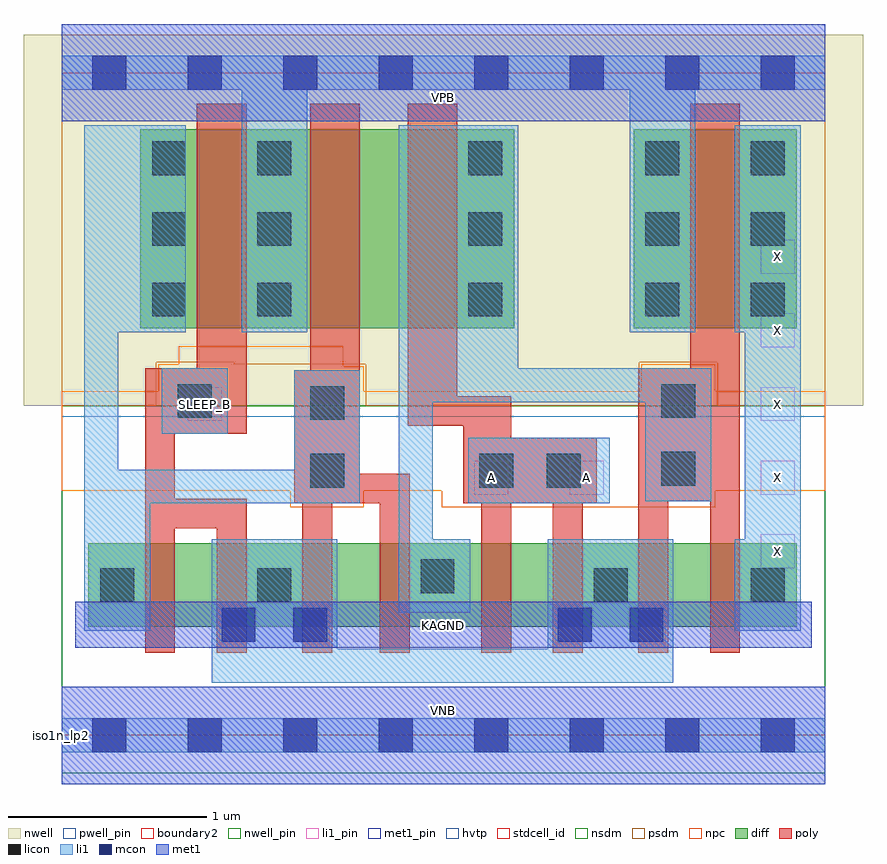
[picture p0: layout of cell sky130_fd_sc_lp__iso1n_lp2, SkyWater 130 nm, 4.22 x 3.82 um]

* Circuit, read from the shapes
.subckt sky130_fd_sc_lp__iso1n_lp2 A KAGND SLEEP_B VGND VNB VPB VPWR X
XM1 n1 SLEEP_B n2 VNB sky130_fd_pr__nfet_01v8 w=0.42 l=0.15
XM2 KAGND SLEEP_B n1 VNB sky130_fd_pr__nfet_01v8 w=0.42 l=0.15
XM3 n3 n2 KAGND VNB sky130_fd_pr__nfet_01v8 w=0.42 l=0.15
XM4 n4 n2 n3 VNB sky130_fd_pr__nfet_01v8 w=0.42 l=0.15
XM5 n5 A n4 VNB sky130_fd_pr__nfet_01v8 w=0.42 l=0.15
XM6 KAGND A n5 VNB sky130_fd_pr__nfet_01v8 w=0.42 l=0.15
XM7 n6 n4 KAGND VNB sky130_fd_pr__nfet_01v8 w=0.42 l=0.15
XM8 X n4 n6 VNB sky130_fd_pr__nfet_01v8 w=0.42 l=0.15
XM9 VPWR SLEEP_B n2 VPB sky130_fd_pr__pfet_01v8_hvt w=1 l=0.25
XM10 n7 n2 VPWR VPB sky130_fd_pr__pfet_01v8_hvt w=1 l=0.25
XM11 n4 A n7 VPB sky130_fd_pr__pfet_01v8_hvt w=1 l=0.25
XM12 X n4 VPWR VPB sky130_fd_pr__pfet_01v8_hvt w=1 l=0.25
.ends

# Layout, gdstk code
import gdstk
lib = gdstk.Library(unit=1e-6, precision=1e-09)
def R(c, l, rs):  # rectangles x0, y0, x1, y1
    for r in rs: c.add(gdstk.rectangle(r[:2], r[2:], *l))
def A(c, l, x, y, w, h, nx, ny, dx, dy):  # array of equal rectangles
    R(c, l, [(x+i*dx, y+j*dy, x+i*dx+w, y+j*dy+h) for i in range(nx) for j in range(ny)])
def P(c, l, *ps):  # polygons
    for p in ps: c.add(gdstk.Polygon(p, *l))
nwell_pin = (64, 16)
nwell = (64, 20)
diff = (65, 20)
poly = (66, 20)
licon = (66, 44)
li1_pin = (67, 16)
li1 = (67, 20)
mcon = (67, 44)
met1_pin = (68, 16)
met1 = (68, 20)
hvtp = (78, 44)
stdcell_id = (81, 4)
nsdm = (93, 44)
psdm = (94, 20)
npc = (95, 20)
pwell_pin = (122, 16)
boundary2 = (236, 0)

sky130_fd_sc_lp__iso1n_l = lib.new_cell('sky130_fd_sc_lp__iso1n_lp2')
R(sky130_fd_sc_lp__iso1n_l, nwell_pin, [(0,3.085,3.84,3.33)])
R(sky130_fd_sc_lp__iso1n_l, nwell, [(-0.19,1.655,4.03,3.52)])
R(sky130_fd_sc_lp__iso1n_l, diff, [(0.135,0.545,3.695,0.965), (0.395,2.045,2.275,3.045), (2.875,2.045,3.695,3.045)])
P(sky130_fd_sc_lp__iso1n_l, poly, [(0.93,1.19),(0.57,1.19),(0.57,1.515),(0.93,1.515),(0.93,3.175),(0.68,3.175),(0.68,1.845),(0.42,1.845),(0.42,0.415),(0.57,0.415),(0.57,1.04),(0.78,1.04),(0.78,0.415),(0.93,0.415)],
  [(1.75,1.315),(1.5,1.315),(1.5,3.175),(1.25,3.175),(1.25,1.835),(1.17,1.835),(1.17,1.165),(1.21,1.165),(1.21,0.415),(1.36,0.415),(1.36,1.165),(1.6,1.165),(1.6,0.415),(1.75,0.415)],
  [(2.69,1.495),(2.26,1.495),(2.26,1.705),(1.99,1.705),(1.99,3.175),(1.74,3.175),(1.74,1.555),(2.02,1.555),(2.02,1.165),(2.11,1.165),(2.11,0.415),(2.26,0.415),(2.26,1.165),(2.47,1.165),(2.47,0.415),(2.62,0.415),(2.62,1.165),(2.69,1.165)],
  [(3.41,3.175),(3.16,3.175),(3.16,1.845),(2.9,1.845),(2.9,0.415),(3.05,0.415),(3.05,1.175),(3.26,1.175),(3.26,0.415),(3.41,0.415)])
A(sky130_fd_sc_lp__iso1n_l, licon, 0.455, 2.105, 0.17, 0.17, 1, 3, 0, 0.355)
A(sky130_fd_sc_lp__iso1n_l, licon, 0.985, 2.105, 0.17, 0.17, 1, 3, 0, 0.355)
A(sky130_fd_sc_lp__iso1n_l, licon, 2.045, 2.105, 0.17, 0.17, 1, 3, 0, 0.355)
A(sky130_fd_sc_lp__iso1n_l, licon, 2.935, 2.105, 0.17, 0.17, 1, 3, 0, 0.355)
A(sky130_fd_sc_lp__iso1n_l, licon, 3.465, 2.105, 0.17, 0.17, 1, 3, 0, 0.355)
R(sky130_fd_sc_lp__iso1n_l, licon, [(0.195,0.67,0.365,0.84), (0.985,0.67,1.155,0.84), (2.675,0.67,2.845,0.84), (3.465,0.67,3.635,0.84), (1.805,0.715,1.975,0.885), (1.25,1.245,1.42,1.415), (2.1,1.245,2.27,1.415), (2.44,1.245,2.61,1.415), (3.015,1.255,3.185,1.425), (1.25,1.585,1.42,1.755), (0.585,1.595,0.755,1.765), (3.015,1.595,3.185,1.765)])
A(sky130_fd_sc_lp__iso1n_l, li1_pin, 3.515, 0.84, 0.17, 0.17, 1, 5, 0, 0.37)
R(sky130_fd_sc_lp__iso1n_l, li1_pin, [(2.075,1.21,2.245,1.38), (2.555,1.21,2.725,1.38), (0.635,1.58,0.805,1.75)])
R(sky130_fd_sc_lp__iso1n_l, li1, [(0,-0.085,3.84,0.085), (2.045,1.165,2.755,1.495), (0.505,1.515,0.835,1.845)])
P(sky130_fd_sc_lp__iso1n_l, li1, [(1.5,1.835),(1.17,1.835),(1.17,1.335),(0.285,1.335),(0.285,2.025),(0.625,2.025),(0.625,3.065),(0.115,3.065),(0.115,0.525),(0.445,0.525),(0.445,1.165),(1.5,1.165)],
  [(3.84,3.415),(0,3.415),(0,3.245),(0.905,3.245),(0.905,2.025),(1.235,2.025),(1.235,3.245),(2.855,3.245),(2.855,2.025),(3.185,2.025),(3.185,3.245),(3.84,3.245)],
  [(3.715,3.065),(3.385,3.065),(3.385,2.025),(3.435,2.025),(3.435,0.985),(3.385,0.985),(3.385,0.525),(3.715,0.525)],
  [(3.075,0.985),(2.445,0.985),(2.445,0.435),(1.385,0.435),(1.385,0.985),(0.755,0.985),(0.755,0.265),(3.075,0.265)],
  [(3.265,1.845),(2.295,1.845),(2.295,3.065),(1.695,3.065),(1.695,0.615),(2.055,0.615),(2.055,0.985),(1.865,0.985),(1.865,1.675),(2.935,1.675),(2.935,1.175),(3.265,1.175)])
A(sky130_fd_sc_lp__iso1n_l, mcon, 0.155, -0.085, 0.17, 0.17, 8, 2, 0.48, 3.33)
R(sky130_fd_sc_lp__iso1n_l, mcon, [(0.805,0.47,0.975,0.64), (1.165,0.47,1.335,0.64), (2.495,0.47,2.665,0.64), (2.855,0.47,3.025,0.64)])
R(sky130_fd_sc_lp__iso1n_l, met1_pin, [(0,0,3.84,0.245), (0.07,0.44,3.77,0.67), (0,3.085,3.84,3.33)])
R(sky130_fd_sc_lp__iso1n_l, met1, [(0,-0.245,3.84,0.245), (0.07,0.44,3.77,0.67), (0,3.085,3.84,3.575)])
R(sky130_fd_sc_lp__iso1n_l, hvtp, [(0,1.6,3.84,3.33)])
R(sky130_fd_sc_lp__iso1n_l, stdcell_id, [(0,0,3.84,3.33)])
R(sky130_fd_sc_lp__iso1n_l, nsdm, [(0,-0.19,3.84,1.655)])
P(sky130_fd_sc_lp__iso1n_l, psdm, [(3.84,3.52),(0,3.52),(0,1.655),(0.475,1.655),(0.475,1.875),(0.865,1.875),(0.865,1.865),(1.53,1.865),(1.53,1.655),(2.905,1.655),(2.905,1.875),(3.295,1.875),(3.295,1.655),(3.84,1.655)])
P(sky130_fd_sc_lp__iso1n_l, npc, [(3.84,1.73),(3.285,1.73),(3.285,1.865),(2.915,1.865),(2.915,1.73),(1.52,1.73),(1.52,1.855),(1.415,1.855),(1.415,1.955),(0.59,1.955),(0.59,1.865),(0.485,1.865),(0.485,1.73),(0,1.73),(0,1.23),(1.15,1.23),(1.15,1.145),(1.52,1.145),(1.52,1.23),(1.91,1.23),(1.91,1.145),(3.285,1.145),(3.285,1.23),(3.84,1.23)])
R(sky130_fd_sc_lp__iso1n_l, pwell_pin, [(0,0,3.84,0.245)])
R(sky130_fd_sc_lp__iso1n_l, boundary2, [(0,0,3.84,3.33)])
sky130_fd_sc_lp__iso1n_l.add(gdstk.Label('VNB', (1.92,0.123), layer=64, texttype=59))
sky130_fd_sc_lp__iso1n_l.add(gdstk.Label('VPB', (1.92,3.208), layer=64, texttype=5))
sky130_fd_sc_lp__iso1n_l.add(gdstk.Label('iso1n_lp2', (0,0), layer=83, texttype=44))
sky130_fd_sc_lp__iso1n_l.add(gdstk.Label('KAGND', (1.92,0.553), layer=68, texttype=5))
sky130_fd_sc_lp__iso1n_l.add(gdstk.Label('VPWR', (1.92,3.208), layer=68, texttype=5))
sky130_fd_sc_lp__iso1n_l.add(gdstk.Label('VGND', (1.92,0.123), layer=68, texttype=5))
sky130_fd_sc_lp__iso1n_l.add(gdstk.Label('SLEEP_B', (0.72,1.665), layer=67, texttype=5))
sky130_fd_sc_lp__iso1n_l.add(gdstk.Label('A', (2.16,1.295), layer=67, texttype=5))
sky130_fd_sc_lp__iso1n_l.add(gdstk.Label('A', (2.64,1.295), layer=67, texttype=5))
sky130_fd_sc_lp__iso1n_l.add(gdstk.Label('X', (3.6,2.405), layer=67, texttype=5))
sky130_fd_sc_lp__iso1n_l.add(gdstk.Label('X', (3.6,0.925), layer=67, texttype=5))
sky130_fd_sc_lp__iso1n_l.add(gdstk.Label('X', (3.6,1.295), layer=67, texttype=5))
sky130_fd_sc_lp__iso1n_l.add(gdstk.Label('X', (3.6,1.665), layer=67, texttype=5))
sky130_fd_sc_lp__iso1n_l.add(gdstk.Label('X', (3.6,2.035), layer=67, texttype=5))

lib.write_gds('sky130_fd_sc_lp__iso1n_lp2.gds')
